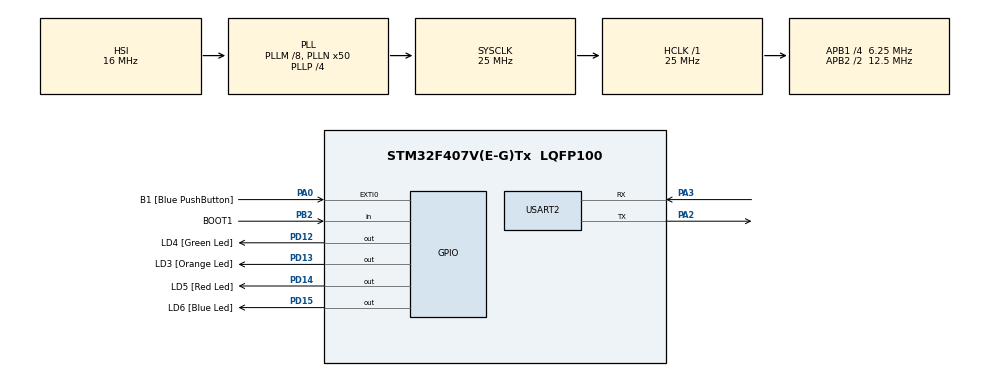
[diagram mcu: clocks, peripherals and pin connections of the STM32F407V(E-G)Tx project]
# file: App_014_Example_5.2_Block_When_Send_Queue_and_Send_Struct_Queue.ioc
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Mcu.Family=STM32F4
Mcu.Name=STM32F407V(E-G)Tx
Mcu.Package=LQFP100
NVIC.PriorityGroup=NVIC_PRIORITYGROUP_4
NVIC.TIM6_DAC_IRQn=true\:0\:0\:false\:false\:true\:false\:true\:true
NVIC.TimeBase=TIM6_DAC_IRQn
NVIC.TimeBaseIP=TIM6
PA0-WKUP.GPIO_Label=B1 [Blue PushButton]
PA0-WKUP.Signal=GPXTI0
PA13.GPIO_Label=SWDIO
PA13.Signal=SYS_JTMS-SWDIO
PA14.GPIO_Label=SWCLK
PA14.Signal=SYS_JTCK-SWCLK
PA2.Mode=Asynchronous
PA2.Signal=USART2_TX
PA3.Mode=Asynchronous
PA3.Signal=USART2_RX
PB2.GPIO_Label=BOOT1
PB2.GPIO_Mode=GPIO_MODE_INPUT
PB2.GPIO_PuPd=GPIO_NOPULL
PB2.Signal=GPIO_Input
PB3.GPIO_Label=SWO
PB3.Signal=SYS_JTDO-SWO
PC7.GPIO_Label=I2S3_MCK [CS43L22_MCLK]
PC7.GPIO_Mode=GPIO_MODE_AF_PP
PC7.GPIO_PuPd=GPIO_NOPULL
PC7.GPIO_Speed=GPIO_SPEED_FREQ_LOW
PC7.Signal=I2S3_MCK
PD12.GPIO_Label=LD4 [Green Led]
PD12.GPIO_PuPd=GPIO_NOPULL
PD12.GPIO_Speed=GPIO_SPEED_FREQ_LOW
PD12.Signal=GPIO_Output
PD13.GPIO_Label=LD3 [Orange Led]
PD13.GPIO_PuPd=GPIO_NOPULL
PD13.GPIO_Speed=GPIO_SPEED_FREQ_LOW
PD13.Signal=GPIO_Output
PD14.GPIO_Label=LD5 [Red Led]
PD14.GPIO_PuPd=GPIO_NOPULL
PD14.GPIO_Speed=GPIO_SPEED_FREQ_LOW
PD14.Signal=GPIO_Output
PD15.GPIO_Label=LD6 [Blue Led]
PD15.GPIO_PuPd=GPIO_NOPULL
PD15.GPIO_Speed=GPIO_SPEED_FREQ_LOW
PD15.Signal=GPIO_Output
ProjectManager.HeapSize=0x200
ProjectManager.StackSize=0x400
ProjectManager.TargetToolchain=STM32CubeIDE
RCC.48MHZClocksFreq_Value=14285714.285714285
RCC.AHBFreq_Value=25000000
RCC.APB1CLKDivider=RCC_HCLK_DIV4
RCC.APB1Freq_Value=6250000
RCC.APB1TimFreq_Value=12500000
RCC.APB2CLKDivider=RCC_HCLK_DIV2
RCC.APB2Freq_Value=12500000
RCC.APB2TimFreq_Value=25000000
RCC.CortexFreq_Value=25000000
RCC.HCLKFreq_Value=25000000
RCC.HSE_VALUE=8000000
RCC.HSI_VALUE=16000000
RCC.LSE_VALUE=32768
RCC.PLLM=8
RCC.PLLN=50
RCC.PLLP=RCC_PLLP_DIV4
RCC.PLLQ=7
RCC.SYSCLKFreq_VALUE=25000000
RCC.SYSCLKSource=RCC_SYSCLKSOURCE_PLLCLK
RCC.VCOOutputFreq_Value=100000000
USART2.VirtualMode=VM_ASYNC
VP_SYS_VS_tim6.Mode=TIM6
board=STM32F407G-DISC1

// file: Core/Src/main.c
/* USER CODE BEGIN Header */
/**
  ******************************************************************************
  * @file           : main.c
  * @brief          : Main program body
  ******************************************************************************
  * @attention
  *
  * Copyright (c) 2024 STMicroelectronics.
  * All rights reserved.
  *
  * This software is licensed under terms that can be found in the LICENSE file
  * in the root directory of this software component.
  * If no LICENSE file comes with this software, it is provided AS-IS.
  *
  *
  ******************************************************************************
  */

/**
 * @author  Julio Cesar Bernal Mendez
 * @brief   This is the "Example 5.2 Blocking when sending to a queue, and sending structures on a queue"
 *          from the Mastering the FreeRTOS Real Time Kernel v1.0 document.
 *
 *          This examples demonstrates creating a queue, sending data to the queue from multiple tasks,
 *          and receiving data from the queue.
 *          The queue is created to hold data items of a user defined struct Data_t.
 *          The task that receives from the queue does not specify a block time, whereas the tasks that send
 *          to the queue does.
 *
 *          Example 5.2 is similar to Example 5.1, but with reversed task prioritites, so the receiving task
 *          has a lower priority than the sending tasks. Also, the created queue holds structures rather
 *          than integers.
 *
 *          2 instances of the sending task are created, one that writes value xStructsToSend[ 0 ]
 *          to the queue and another that writes the value xStructsToSend[ 1 ] to the same queue.
 *
 *          Since the sending tasks have higher priority than the receiving task, the queue
 *          will normally be full. This is because, as soon as the receiving task removes an item from
 *          the queue, it is pre-empted by one of the sending tasks which then immediately re-fills the queue.
 *          The sending task then re-enters the Blocked state to wait for space to become available on the
 *          queue again.
 *
 *          The sending task specifies a block time of 100 milliseconds, so it enters the Blocked state to wait
 *          for space to be available each time the queue becomes full. It (sending task) leaves the Blocked
 *          state when either space is available on the queue, or 100 milliseconds passes without space
 *          becoming available. In this example, the receiving task continuously make space in the queue,
 *          so the 100 milliseconds timeout never expires.
 *
 *          It is not 100% the same as the guide explains it in a general way, meaning it was adapted by me to run on
 *          a STM32F407 discovery board using the FreeRTOS GCC port for this device.
 * @version 0.1
 * @date    2024-08-28
 *
 */
/* USER CODE END Header */
#include "main.h"

/* USER CODE BEGIN Includes */
#include <stdio.h>
#include "FreeRTOS.h"
#include "task.h"
#include "queue.h"
/* USER CODE END Includes */

UART_HandleTypeDef huart2;

/* USER CODE BEGIN PV */
/* Declare a variable of type QueueHandle_t. This is used to store the
   handle to the queue that is accessed by all three tasks */
QueueHandle_t xQueue;

/* string array for printing the received Queue values */
char pcReceivedQueue[ 22 ];

/* define an enumerated type used to identify the source of the data */
typedef enum
{
  eSender1,
  eSender2
} DataSource_t;

/* define the structure type that will be passed on the queue */
typedef struct
{
  DataSource_t eDataSource;
  uint8_t      ucValue;
} Data_t;

/* declare two variables of type Data_t that will be passed on the queue */
static const Data_t xStructsToSend[ 2 ] =
{
  { eSender1, 100 }, /* used by Sender1 */
  { eSender2, 200 }  /* used by Sender2 */
};
/* USER CODE END PV */

void SystemClock_Config(void);
static void MX_GPIO_Init(void);
static void MX_USART2_UART_Init(void);
/* USER CODE BEGIN PFP */
void UART2_Print_Text( UART_HandleTypeDef *huart, const char *text );

static void vSenderTask( void *pvParameters );
static void vReceiverTask( void *pvParameters );
/* USER CODE END PFP */

int main(void)
{

  /* MCU Configuration--------------------------------------------------------*/

  /* Reset of all peripherals, Initializes the Flash interface and the Systick. */
  HAL_Init();

  /* Configure the system clock */
  SystemClock_Config();

  /* Initialize all configured peripherals */
  MX_GPIO_Init();
  MX_USART2_UART_Init();
  /* USER CODE BEGIN 2 */
  /* enable CYCCNT (Cycle Count, needed for SEGGER SystemView) in DWT_CTRL register */
  DWT->CTRL |= DWT_CTRL_CYCCNTENA_Msk;

  /* initialize and configure SEGGER SystemView */
  SEGGER_SYSVIEW_Conf();

  /* start recording SEGGER SystemView events */
  SEGGER_SYSVIEW_Start();

  /* the queue is created to hold a maximum of 3 structures of type Data_t */
  xQueue = xQueueCreate( 3, sizeof( Data_t ) );

  /* Create two instances of the task that will write to the queue.
     The task parameter is used to pass the structure that the task will
     write to the queue, so one task will send xStructsToSend[ 0 ] to the queue,
     while the other task will send xStructsToSend[ 1 ] to the queue.
     Both tasks are created at priority 2, which is above the priority
     of the receiver */
  xTaskCreate( vSenderTask, "Sender 1", 1000, ( void * ) &( xStructsToSend[ 0 ] ), 2, NULL );
  xTaskCreate( vSenderTask, "Sender 2", 1000, ( void * ) &( xStructsToSend[ 1 ] ), 2, NULL );

  /* Create the task that will read from the queue.
     The task is created with priority 1, so below the priority of the sender tasks */
  xTaskCreate( vReceiverTask, "Receiver", 1000, NULL, 1, NULL );

  /* start the scheduler so the tasks start executing */
  vTaskStartScheduler();

  /* USER CODE END 2 */

  /* Infinite loop */
  /* USER CODE BEGIN WHILE */

  /* If all is well, main() will not reach here because the scheduler will now
     be running the created tasks.
     If main() does reach here, then there was not enough heap memory to create either
     the idle or timer tasks */
  while (1)
  {
    /* USER CODE END WHILE */

  }
}

void SystemClock_Config(void)
{
  RCC_OscInitTypeDef RCC_OscInitStruct = {0};
  RCC_ClkInitTypeDef RCC_ClkInitStruct = {0};

  /** Configure the main internal regulator output voltage
  */
  __HAL_RCC_PWR_CLK_ENABLE();
  __HAL_PWR_VOLTAGESCALING_CONFIG(PWR_REGULATOR_VOLTAGE_SCALE1);

  /** Initializes the RCC Oscillators according to the specified parameters
  * in the RCC_OscInitTypeDef structure.
  */
  RCC_OscInitStruct.OscillatorType = RCC_OSCILLATORTYPE_HSI;
  RCC_OscInitStruct.HSIState = RCC_HSI_ON;
  RCC_OscInitStruct.HSICalibrationValue = RCC_HSICALIBRATION_DEFAULT;
  RCC_OscInitStruct.PLL.PLLState = RCC_PLL_ON;
  RCC_OscInitStruct.PLL.PLLSource = RCC_PLLSOURCE_HSI;
  RCC_OscInitStruct.PLL.PLLM = 8;
  RCC_OscInitStruct.PLL.PLLN = 50;
  RCC_OscInitStruct.PLL.PLLP = RCC_PLLP_DIV4;
  RCC_OscInitStruct.PLL.PLLQ = 7;
  if (HAL_RCC_OscConfig(&RCC_OscInitStruct) != HAL_OK)
  {
    Error_Handler();
  }

  /** Initializes the CPU, AHB and APB buses clocks
  */
  RCC_ClkInitStruct.ClockType = RCC_CLOCKTYPE_HCLK|RCC_CLOCKTYPE_SYSCLK
                              |RCC_CLOCKTYPE_PCLK1|RCC_CLOCKTYPE_PCLK2;
  RCC_ClkInitStruct.SYSCLKSource = RCC_SYSCLKSOURCE_PLLCLK;
  RCC_ClkInitStruct.AHBCLKDivider = RCC_SYSCLK_DIV1;
  RCC_ClkInitStruct.APB1CLKDivider = RCC_HCLK_DIV4;
  RCC_ClkInitStruct.APB2CLKDivider = RCC_HCLK_DIV2;

  if (HAL_RCC_ClockConfig(&RCC_ClkInitStruct, FLASH_LATENCY_0) != HAL_OK)
  {
    Error_Handler();
  }
}

static void MX_USART2_UART_Init(void)
{

  huart2.Instance = USART2;
  huart2.Init.BaudRate = 115200;
  huart2.Init.WordLength = UART_WORDLENGTH_8B;
  huart2.Init.StopBits = UART_STOPBITS_1;
  huart2.Init.Parity = UART_PARITY_NONE;
  huart2.Init.Mode = UART_MODE_TX_RX;
  huart2.Init.HwFlowCtl = UART_HWCONTROL_NONE;
  huart2.Init.OverSampling = UART_OVERSAMPLING_16;
  if (HAL_UART_Init(&huart2) != HAL_OK)
  {
    Error_Handler();
  }

}

static void MX_GPIO_Init(void)
{
  GPIO_InitTypeDef GPIO_InitStruct = {0};

  /* GPIO Ports Clock Enable */
  __HAL_RCC_GPIOA_CLK_ENABLE();
  __HAL_RCC_GPIOB_CLK_ENABLE();
  __HAL_RCC_GPIOD_CLK_ENABLE();
  __HAL_RCC_GPIOC_CLK_ENABLE();

  /*Configure GPIO pin Output Level */
  HAL_GPIO_WritePin(GPIOD, LD4_Pin|LD3_Pin|LD5_Pin|LD6_Pin, GPIO_PIN_RESET);

  /*Configure GPIO pin : B1_Pin */
  GPIO_InitStruct.Pin = B1_Pin;
  GPIO_InitStruct.Mode = GPIO_MODE_IT_RISING;
  GPIO_InitStruct.Pull = GPIO_NOPULL;
  HAL_GPIO_Init(B1_GPIO_Port, &GPIO_InitStruct);

  /*Configure GPIO pin : BOOT1_Pin */
  GPIO_InitStruct.Pin = BOOT1_Pin;
  GPIO_InitStruct.Mode = GPIO_MODE_INPUT;
  GPIO_InitStruct.Pull = GPIO_NOPULL;
  HAL_GPIO_Init(BOOT1_GPIO_Port, &GPIO_InitStruct);

  /*Configure GPIO pins : LD4_Pin LD3_Pin LD5_Pin LD6_Pin */
  GPIO_InitStruct.Pin = LD4_Pin|LD3_Pin|LD5_Pin|LD6_Pin;
  GPIO_InitStruct.Mode = GPIO_MODE_OUTPUT_PP;
  GPIO_InitStruct.Pull = GPIO_NOPULL;
  GPIO_InitStruct.Speed = GPIO_SPEED_FREQ_LOW;
  HAL_GPIO_Init(GPIOD, &GPIO_InitStruct);

  /*Configure GPIO pin : I2S3_MCK_Pin */
  GPIO_InitStruct.Pin = I2S3_MCK_Pin;
  GPIO_InitStruct.Mode = GPIO_MODE_AF_PP;
  GPIO_InitStruct.Pull = GPIO_NOPULL;
  GPIO_InitStruct.Speed = GPIO_SPEED_FREQ_LOW;
  GPIO_InitStruct.Alternate = GPIO_AF6_SPI3;
  HAL_GPIO_Init(I2S3_MCK_GPIO_Port, &GPIO_InitStruct);

}

/* USER CODE BEGIN 4 */
void UART2_Print_Text( UART_HandleTypeDef *huart, const char *text )
{
  uint8_t character;

  /* loop through the string until null character found */
  for ( character = 0; text[ character ] != '\0'; character++ )
  {
    /* transmit current character over UART */
    HAL_UART_Transmit( huart, ( const uint8_t* ) &text[ character ], 1, 5000 );
  }
}

static void vSenderTask( void *pvParameters )
{
  /* declare the variable that will hold the status of xQueueSendToBack() */
  BaseType_t xStatus;

  /* get 100 milliseconds equivalency in tick interrupts */
  const TickType_t xTicksToWait = pdMS_TO_TICKS( 100 );

  /* as per most tasks, this task is implemented in an infinite loop */
  for ( ;; )
  {
    /* Send the value to the queue.

       The first parameter is the queue to which data is being sent.
       The queue was created before the scheduler was started, so
       before this task started to execute.

       The second parameter is the address of the data to be sent (in this case
       a Data_t structure). The address is passed in as the task parameter so
       pvParameters is used directly.

       The third parameter is the Block time - the time the task should be
       kept in the Blocked state to wait for space to become available on
       the queue if the queue is already full.
       A block time is specified because the sending tasks have a higher priority
       than the receiving task so the queue is expected to become full.
       The receiving task will remove items from the queue when both sending tasks
       are in the Blocked state */
    xStatus = xQueueSendToBack( xQueue, pvParameters, xTicksToWait );

    if ( xStatus != pdPASS )
    {
      /* The send operation could not complete, even after waiting for 100ms.
         This must be an error as the receiving task should make space in the queue
         as soon as both sending tasks are in the Blocked state */
      UART2_Print_Text( &huart2, "Could not send to the queue\n\r" );
    }
  }
}

static void vReceiverTask( void *pvParameters )
{
  /* declare the structure that will hold the values received from the queue */
  Data_t xReceivedStructure;

  /* declare the variable that will hold the status of xQueueReceive() */
  BaseType_t xStatus;

  /* as per most tasks, this task is implemented in an infinite loop */
  for ( ;; )
  {
    /* Because it has the lowest priority this task will only run when the
       sending tasks are in the Blocked state.
       The sending tasks will only enter the Blocked state when the queue is
       full, so this task always expects the number of items in the queue to
       be equal to the queue length, which is 3 in this case */
    if ( uxQueueMessagesWaiting( xQueue ) != 3 )
    {
      UART2_Print_Text( &huart2, "Queue should have been full!\n\r" );
    }

    /* Receive data from the queue.

       The first parameter is the queue from which data is to be received.
       The queue is created before the scheduler is started, and therefore
       before this task runs for the first time.

       The second parameter is the buffer into which the received data will
       be placed. In this case the buffer is simply the address of a
       variable that has the required size to hold the received structure (Data_t).

       The last parameter is the block time - the maximum amount of time
       that the task will remain in the Blocked state to wait for data to
       be available if the queue is already empty.
       In this case a block time is not necessary because this task will only
       run when the queue is full */
    xStatus = xQueueReceive( xQueue, &xReceivedStructure, 0 );

    if ( xStatus == pdPASS )
    {
      /* data was successfully received from the queue,
         print out the received value and the source of the value */
      if ( xReceivedStructure.eDataSource == eSender1 )
      {
        sprintf( pcReceivedQueue, "From Sender 1 = %d\n\r", xReceivedStructure.ucValue );
      }
      else
      {
        sprintf( pcReceivedQueue, "From Sender 2 = %d\n\r", xReceivedStructure.ucValue );
      }

      UART2_Print_Text( &huart2, ( const char * ) pcReceivedQueue );
    }
    else
    {
      /* Nothing was received from the queue.
         This must be an error as this task should only run when the queue is full */
      UART2_Print_Text( &huart2, "Could not receive from the queue\n\r" );
    }
  }
}
/* USER CODE END 4 */

void HAL_TIM_PeriodElapsedCallback(TIM_HandleTypeDef *htim)
{
  if (htim->Instance == TIM6) {
    HAL_IncTick();
  }
}

void Error_Handler(void)
{
  __disable_irq();
  while (1)
  {
  }
}
